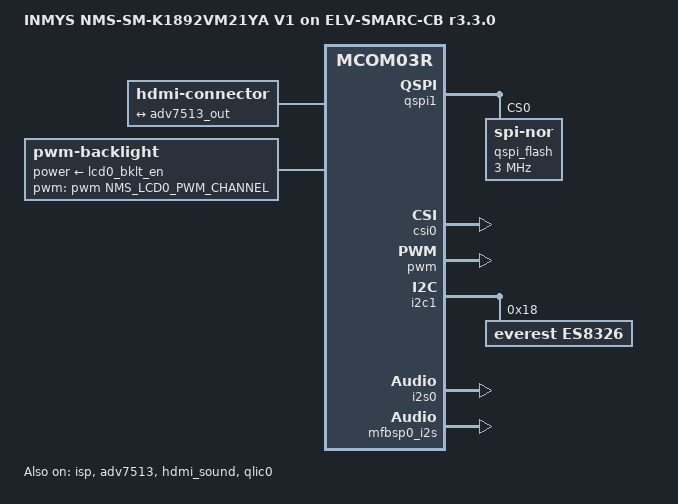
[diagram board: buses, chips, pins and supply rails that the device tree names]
// SPDX-License-Identifier: GPL-2.0+
/*
 * INMYS NMS-SM-K1892VM21YA V1 on ELV-SMARC-CB r3.3.0
 *
 * The ELV-SMARC-CB is the ELVEES reference SMARC carrier: 2x GbE, HDMI out,
 * LVDS/eDP, audio codec, 2x CAN, PCIe x4 + miniPCIe, USB, microSD.
 * Only the resources needed for bring-up are described here; the remaining
 * peripherals are added as they are validated.
 *
 * Copyright (C) 2026 INMYS
 */

/dts-v1/;

#include <dt-bindings/clock/mcom03-clock.h>

#include "nms-sm-k1892vm21ya.dtsi"

/ {
	model = "INMYS NMS-SM-K1892VM21YA V1 on ELV-SMARC-CB r3.3.0";
	compatible = "inmys,nms-sm-elvsmarccb",
		     "inmys,nms-sm-k1892vm21ya",
		     "inmys,nms-sm-k1892",
		     "elvees,mcom03r";

	chosen {
		stdout-path = "serial0:115200n8";
	};

	aliases {
		ethernet0 = &emac0;
		ethernet1 = &emac1;
	};

	/* HDMI receptacle on the carrier, fed from the module's ADV7513 */
	hdmi_connector: hdmi-connector {
		compatible = "hdmi-connector";
		label = "hdmi";
		type = "a";

		port {
			hdmi_connector_in: endpoint {
				remote-endpoint = <&adv7513_out>;
			};
		};
	};

	/*
	 * Carrier DD1 is labelled ES8327 in the schematic; fitted silicon
	 * identifies as ES8326. MFBSP0 drives SMARC I2S0 as clock master.
	 * AUDIO_MCK is unconnected on the module, so use 64-fs BCLK.
	 */
	analog_audio: analog-audio {
		compatible = "simple-audio-card";
		simple-audio-card,name = "analog-audio";
		simple-audio-card,format = "i2s";
		simple-audio-card,bitclock-master = <&analog_dailink_master>;
		simple-audio-card,frame-master = <&analog_dailink_master>;
		simple-audio-card,continuous-clock;
		/* No module MCLK; feed the codec main clock from 64-fs BCLK. */
		simple-audio-card,mclk-fs = <64>;

		analog_dailink_master: simple-audio-card,cpu {
			sound-dai = <&mfbsp0_i2s>;
			dai-tdm-slot-num = <2>;
			dai-tdm-slot-width = <32>;
		};

		simple-audio-card,codec {
			sound-dai = <&es8326>;
		};
	};

	/* SMARC LCD0 PWM and enable, driven by the module. */
	backlight: backlight {
		compatible = "pwm-backlight";
		pwms = <&pwm NMS_LCD0_PWM_CHANNEL NMS_PWM0_PERIOD_NS>;
		power-supply = <&lcd0_bklt_en>;
		brightness-levels = <100 90 80 70 60 50 40 30 20 10 1 0>;
		default-brightness-level = <10>;
		status = "okay";
	};
};

/*
 * microSD socket XS6: card VDD stays at 3.3 V, and the module switches
 * signal levels to 1.8 V for UHS. Retain the stronger clock pad drive.
 */
&sdhci0 {
	elvees,drive-strength-clk = <6>;

	/*
	 * Keep the existing base clock: the 100 MHz request rounds down to
	 * 93.75 MHz from the 1125 MHz parent. SDR104/SDR50 can use that base;
	 * High Speed and DDR50 use /2, giving 46.875 MHz.
	 */
	assigned-clocks = <&hsperiph_clocks CLK_HSP_UCG1_SDMMC0_XIN>;
	assigned-clock-rates = <100000000>;
};

/*
 * QSPI1 flash socket XS7 (SOIC-8, ACA-SPI-004), powered from 1V8_SF-0 and
 * routed through the module's RS2299 crossbar D31/D32.  The crossbar is
 * selected by QSPI_SPI# = PCAL6416A P0_4: 1 = QSPI1, 0 = SPI1.
 * The fitted R224 pull-up selects QSPI1 without software initialization.
 * qspi1_default_18 keeps the pads in 1.8 V mode.
 */
&qspi1 {
	status = "okay";
	pinctrl-0 = <&qspi1_default_18>;

	qspi_flash: spi-nor@0 {
		#address-cells = <1>;
		#size-cells = <1>;
		compatible = "jedec,spi-nor", "spi-flash";
		reg = <0x0>;
		/* Highest frequency for the IC installed into the socket */
		spi-max-frequency = <3000000>;
		m25p,fast-read;
	};
};

&qspi1_default {
	/*
	 * Max clock frequency is 1 MHz with the default pad drive strength;
	 * this raises it to 3 MHz.
	 */
	clk {
		drive-strength = <10>;
	};
};

/* XS12: CSI0, two data lanes, I2C_CAM0 (Linux bus 5). */
&isp {
	status = "okay";
};

&csi0 {
	status = "okay";
};

/* ------------------------------------------------------------------ */
/* Display                                                            */
/* ------------------------------------------------------------------ */

/* Default display route: Mali-DP -> DPI -> ADV7513 -> HDMI. */
&adv7513 {
	status = "okay";

	ports {
		port@1 {
			reg = <1>;

			adv7513_out: endpoint {
				remote-endpoint = <&hdmi_connector_in>;
			};
		};
	};
};

/*
 * MIPI DSI path: Mali-DP -> DSI -> SN65DSI84 (module D10) -> LVDS panel on
 * XP7.  XP7 is a 2x15P header carrying both LVDS channels (A on S125..S138,
 * B on S108..S121) through series resistors ZL39..ZL48, so a dual-link panel
 * can be plugged in as well; this device tree describes channel A only.
 *
 * Panel power comes from XP8 ("LVDS VCC SEL", 6-pin) via VT6, gated by
 * SMARC LCD0_VDD_EN (S133) = PCAL6416A P0_1, which is why the panel takes
 * lcd0_vdd_en as its supply.
 *
 * Keep the DSI encoder, bridge and panel disabled together for HDMI boot.
 * The current single-CRTC driver has no working physical HDMI/LVDS clone.
 * To select LVDS, enable these three nodes and disable the HDMI route.
 * Backlight controls remain available for independent PWM measurement.
 */
&de_dsi {
	status = "disabled";
};

&lvds_bridge {
	status = "disabled";
};

&lvds_panel {
	status = "disabled";
	backlight = <&backlight>;
	power-supply = <&lcd0_vdd_en>;
};

/* LCD0 is timer 0 output B; FAN.md describes the shared timer without D35. */
&pwm {
	status = "okay";
	elvees,output-channel = <1 0 0 0>;
	elvees,state-on-disable = <1 0 0 0>;
	pinctrl-names = "default";
	pinctrl-0 = <&pwm_oenb0_mux>;
};

/*
 * DD1 ES8326 on I2C_GP at 0x18; SCLK/LRCK/SDIN/SDOUT reach MFBSP0
 * through SMARC S42/S39/S40/S41. R16 connects MCLK to unconnected S38;
 * the alternative G1 12 MHz link R12 is marked DNP. See ANALOG_AUDIO.md.
 * INTOUT reaches GPIO0_PORTD_1, which has no IRQ controller in this DT;
 * leave jack detection IRQ undescribed.
 */
&i2c1 {
	es8326: codec@18 {
		compatible = "everest,es8326";
		reg = <0x18>;

		/* G1 -> MCLK link R12 is DNP; SMARC AUDIO_MCK is unconnected. */
		everest,bclk-as-mclk;
		#sound-dai-cells = <0>;

		everest,jack-pol = [0e];
		everest,interrupt-src = [08];
		everest,interrupt-clk = [45];
	};
};

/* HDMI audio: SoC I2S0 -> ADV7513 on the module */
&i2s0 {
	status = "okay";
};

&hdmi_sound {
	status = "okay";
};

/* MFBSP DMA interrupts are delivered through service-subsystem QLIC0. */
&qlic0 {
	status = "okay";
};

/* Analog audio: SoC MFBSP0 -> ES8326 on the carrier */
&mfbsp0_i2s {
	status = "okay";
};
